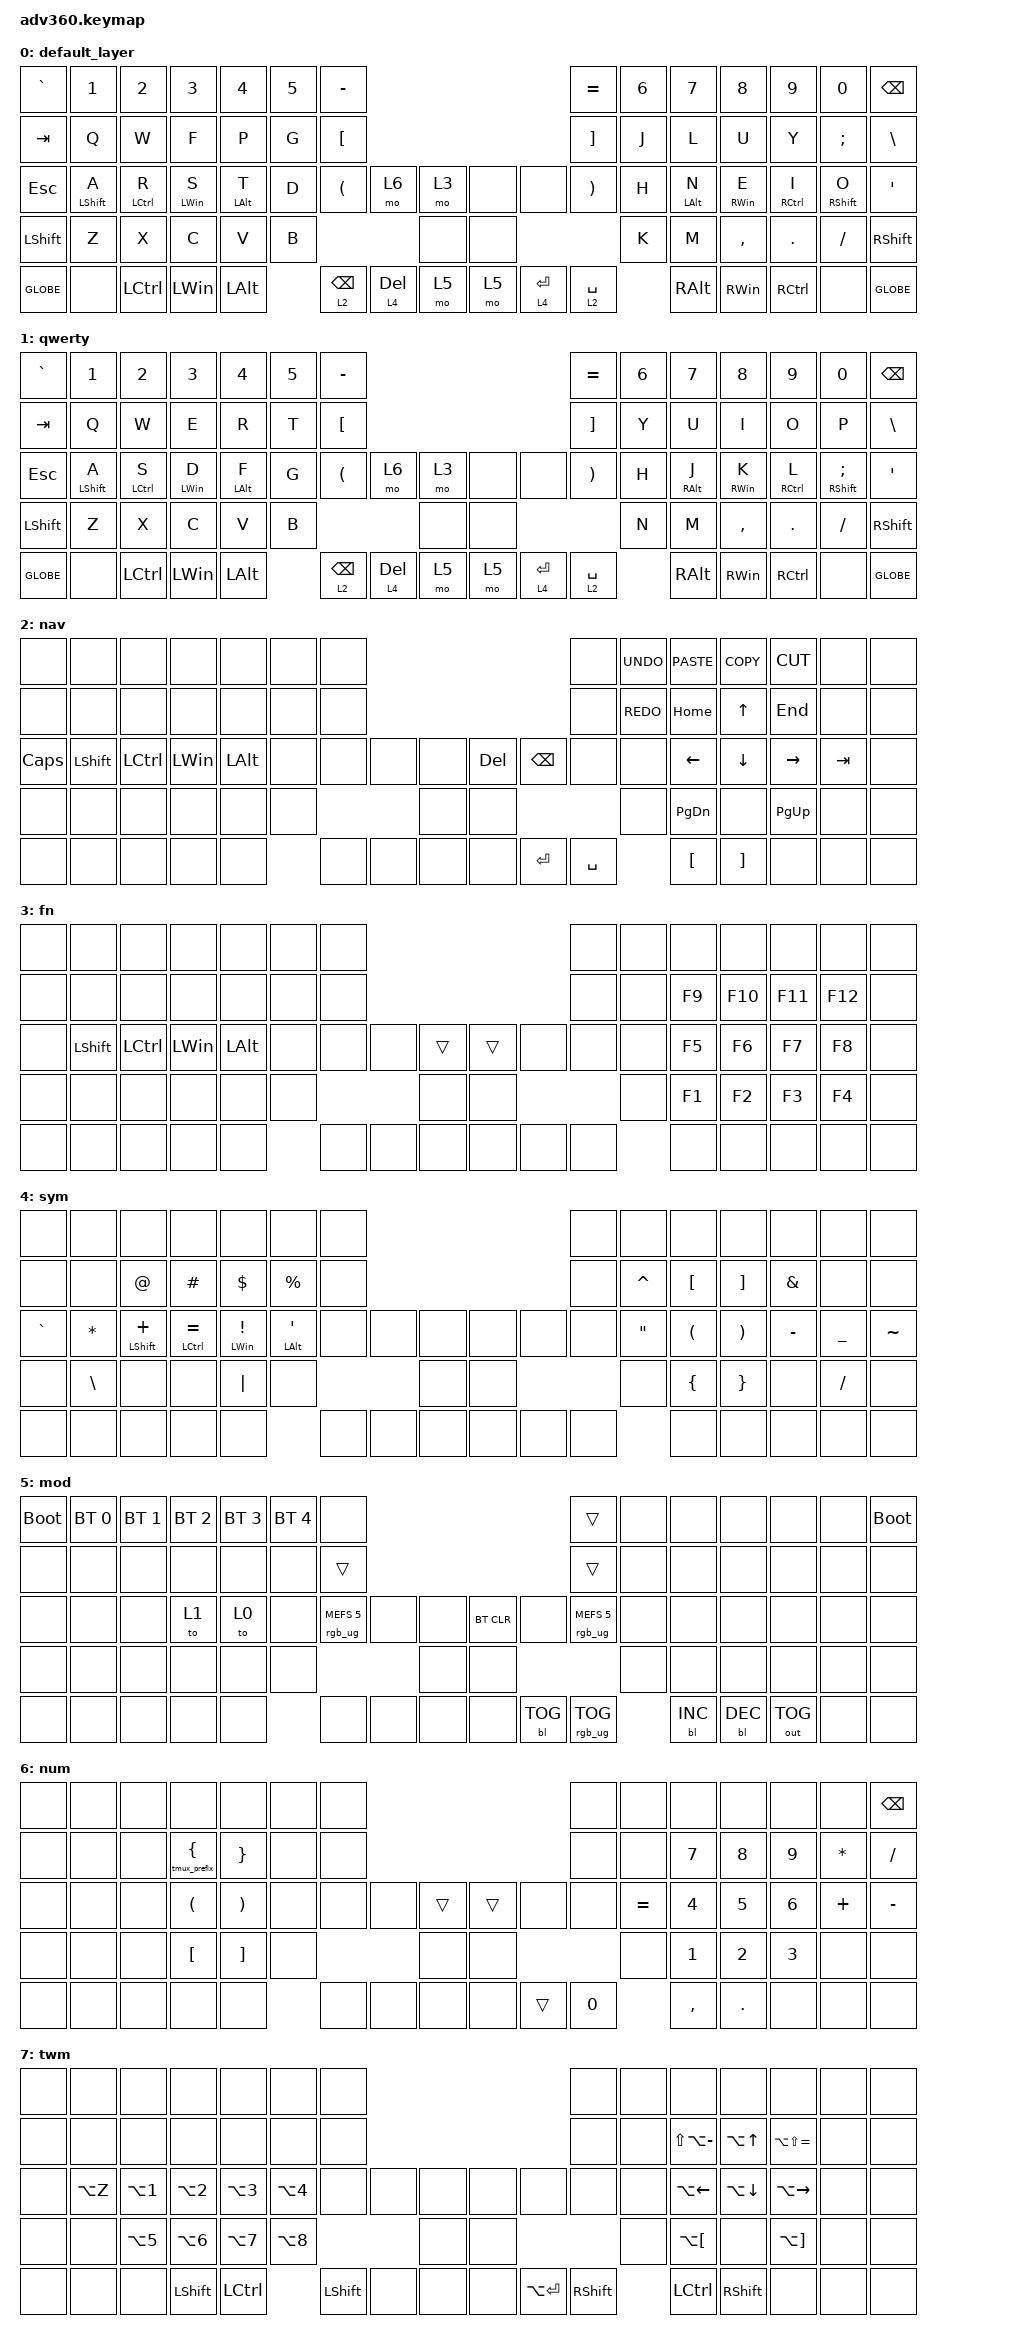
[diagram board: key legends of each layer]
#include <behaviors.dtsi>
#include <dt-bindings/zmk/backlight.h>
#include <dt-bindings/zmk/bt.h>
#include <dt-bindings/zmk/keys.h>
#include <dt-bindings/zmk/outputs.h>
#include <dt-bindings/zmk/rgb.h>

#define KEYPAD 1
#define FN 2
#define MOD 3

&lt {
    tapping-term-ms = <250>;
    quick-tap-ms = <200>;
    flavor = "balanced";
    require-prior-idle-ms = <200>;
};

/ {
    behaviors {
        #include "macros.dtsi"
      #include "version.dtsi"
      #ifndef VERSION_MACRO


        #endif

        hml: homerow_mods_left {
            compatible = "zmk,behavior-hold-tap";
            label = "HOMEROW_MODS_LEFT";
            bindings = <&kp>, <&kp>;

            #binding-cells = <2>;
            tapping-term-ms = <250>;
            quick-tap-ms = <175>;
            require-prior-idle-ms = <200>;
            flavor = "balanced";
            hold-trigger-key-positions = <44 41 42 43 44 69 70 71 72 73 74 55 56 57 58 71 72 73 74 7 8 9 10 11 12 13 21 22 23 24 25 26 27 39 40 41 42 43 44 45 54 55 56 57 58 59 71 72 73 74 75>;
            hold-trigger-on-release;
        };

        hmr: homerow_mods_right {
            compatible = "zmk,behavior-hold-tap";
            label = "HOMEROW_MODS_RIGHT";
            bindings = <&kp>, <&kp>;

            #binding-cells = <2>;
            tapping-term-ms = <250>;
            quick-tap-ms = <175>;
            require-prior-idle-ms = <200>;
            flavor = "balanced";
            hold-trigger-key-positions = <29 30 31 32 0 1 2 3 4 5 6 14 15 16 17 18 19 20 28 29 30 31 32 33 34 46 47 48 49 50 51 60 61 62 63 64 65 66>;
            hold-trigger-on-release;
        };

        flt: flt {
            compatible = "zmk,behavior-hold-tap";
            label = "fast_layer_tap";
            bindings = <&mo>, <&kp>;

            #binding-cells = <2>;
            tapping-term-ms = <150>;
            quick-tap-ms = <200>;
            flavor = "balanced";
            require-prior-idle-ms = <125>;
        };

        caps_word_const: caps_word_const {
            compatible = "zmk,behavior-caps-word";
            label = "CAPS_WORD_CONST";
            #binding-cells = <0>;
            continue-list = <A B C D E F G H I J K L M N O P Q R S T U V W X Y Z UNDERSCORE LEFT_PARENTHESIS RIGHT_PARENTHESIS LEFT_BRACKET RIGHT_BRACKET LEFT_BRACE RIGHT_BRACE BACKSPACE MINUS>;
        };
    };

    combos {
        compatible = "zmk,combos";

        caps_lock {
            bindings = <&caps_word_const>;
            key-positions = <46 59>;
            layers = <0>;
            timeout-ms = <200>;
        };

        toggle_nav_alt_super_left {
            bindings = <&nav_alt_super 2 LA(LEFT_WIN)>;
            key-positions = <49 50>;
            layers = <0>;
        };

        lpar {
            bindings = <&kp LEFT_PARENTHESIS>;
            key-positions = <42 41>;
            layers = <0>;
        };

        rpar {
            bindings = <&kp RIGHT_PARENTHESIS>;
            key-positions = <42 43>;
            layers = <0>;
        };

        lbkt {
            bindings = <&kp LEFT_BRACKET>;
            key-positions = <41 40>;
            layers = <0>;
        };

        rbkt {
            bindings = <&kp RBKT>;
            key-positions = <43 44>;
            layers = <0>;
        };

        toggle_nav_alt_super_right {
            bindings = <&nav_alt_super 2 LA(LEFT_WIN)>;
            key-positions = <55 56>;
            layers = <0>;
        };
    };

    macros {
        tmux_prefix: tmux_prefix {
            compatible = "zmk,behavior-macro-one-param";
            #binding-cells = <1>;
            bindings =
                <&macro_tap>,
                <&kp LC(A) &macro_param_1to1 &kp MACRO_PLACEHOLDER>;

            label = "TMUX_PREFIX";
        };

        nav_alt_super: nav_alt_super {
            compatible = "zmk,behavior-macro-two-param";
            #binding-cells = <2>;
            bindings =
                <&macro_param_1to1>,
                <&macro_press>,
                <&mo MACRO_PLACEHOLDER &macro_param_2to1>,
                <&macro_press>,
                <&kp MACRO_PLACEHOLDER>,
                <&macro_pause_for_release>,
                <&macro_param_2to1>,
                <&macro_release>,
                <&kp MACRO_PLACEHOLDER &macro_param_1to1>,
                <&macro_release>,
                <&mo MACRO_PLACEHOLDER>;

            label = "NAV_ALT_SUPER";
        };
    };

    keymap {
        compatible = "zmk,keymap";

        default_layer {
            bindings = <
&kp GRAVE   &kp N1             &kp N2            &kp N3           &kp N4           &kp N5  &kp MINUS                                                        &kp EQUAL     &kp N6  &kp N7           &kp N8         &kp N9             &kp N0              &kp BSPC
&kp TAB     &kp Q              &kp W             &kp F            &kp P            &kp G   &kp LBKT                                                         &kp RBKT      &kp J   &kp L            &kp U          &kp Y              &kp SEMI            &kp BSLH
&kp ESCAPE  &hml LEFT_SHIFT A  &hml LCTRL R      &hml LEFT_WIN S  &hml LEFT_ALT T  &kp D   &kp LPAR          &mo 6          &mo 3      &none  &none         &kp RPAR      &kp H   &hmr LEFT_ALT N  &hmr RWIN E    &hmr RCTRL I       &hmr RIGHT_SHIFT O  &kp SINGLE_QUOTE
&kp LSHFT   &kp Z              &kp X             &kp C            &kp V            &kp B                                    &none      &none                              &kp K   &kp M            &kp COMMA      &kp DOT            &kp FSLH            &kp RSHFT
&kp GLOBE   &none              &kp LEFT_CONTROL  &kp LEFT_WIN     &kp LEFT_ALT             &flt 2 BACKSPACE  &flt 4 DELETE  &mo 5      &mo 5  &flt 4 ENTER  &flt 2 SPACE          &kp RALT         &kp RIGHT_WIN  &kp RIGHT_CONTROL  &none               &kp GLOBE
            >;
        };

        qwerty {
            bindings = <
&kp GRAVE   &kp N1            &kp N2            &kp N3          &kp N4          &kp N5  &kp MINUS                                                        &kp EQUAL     &kp N6  &kp N7           &kp N8         &kp N9             &kp N0                &kp BSPC
&kp TAB     &kp Q             &kp W             &kp E           &kp R           &kp T   &kp LBKT                                                         &kp RBKT      &kp Y   &kp U            &kp I          &kp O              &kp P                 &kp BSLH
&kp ESCAPE  &mt LEFT_SHIFT A  &mt LCTRL S       &mt LEFT_WIN D  &mt LEFT_ALT F  &kp G   &kp LPAR          &mo 6          &mo 3      &none  &none         &kp RPAR      &kp H   &mt RIGHT_ALT J  &mt RWIN K     &mt RCTRL L        &mt RSHIFT SEMICOLON  &kp SQT
&kp LSHFT   &kp Z             &kp X             &kp C           &kp V           &kp B                                    &none      &none                              &kp N   &kp M            &kp COMMA      &kp DOT            &kp FSLH              &kp RSHFT
&kp GLOBE   &none             &kp LEFT_CONTROL  &kp LEFT_WIN    &kp LEFT_ALT            &flt 2 BACKSPACE  &flt 4 DELETE  &mo 5      &mo 5  &flt 4 ENTER  &flt 2 SPACE          &kp RALT         &kp RIGHT_WIN  &kp RIGHT_CONTROL  &none                 &kp GLOBE
            >;
        };

        nav {
            bindings = <
&none         &none       &none      &none         &none     &none  &none                                               &none      &kp K_UNDO  &kp K_PASTE     &kp K_COPY    &kp K_CUT  &none    &none
&none         &none       &none      &none         &none     &none  &none                                               &none      &kp K_REDO  &kp HOME        &kp UP_ARROW  &kp END    &none    &none
&kp CAPSLOCK  &kp LSHIFT  &kp LCTRL  &kp LEFT_WIN  &kp LALT  &none  &none  &none  &none      &kp DELETE  &kp BACKSPACE  &none      &none       &kp LEFT_ARROW  &kp DOWN      &kp RIGHT  &kp TAB  &none
&none         &none       &none      &none         &none     &none                &none      &none                                 &none       &kp PAGE_DOWN   &none         &kp PG_UP  &none    &none
&none         &none       &none      &none         &none            &none  &none  &none      &none       &kp ENTER      &kp SPACE              &kp LBKT        &kp RBKT      &none      &none    &none
            >;
        };

        fn {
            bindings = <
&none  &none       &none      &none         &none     &none  &none                                    &none  &none  &none   &none    &none    &none    &none
&none  &none       &none      &none         &none     &none  &none                                    &none  &none  &kp F9  &kp F10  &kp F11  &kp F12  &none
&none  &kp LSHIFT  &kp LCTRL  &kp LEFT_WIN  &kp LALT  &none  &none  &none  &trans      &trans  &none  &none  &none  &kp F5  &kp F6   &kp F7   &kp F8   &none
&none  &none       &none      &none         &none     &none                &none       &none                 &none  &kp F1  &kp F2   &kp F3   &kp F4   &none
&none  &none       &none      &none         &none            &none  &none  &none       &none   &none  &none         &none   &none    &none    &none    &none
            >;
        };

        sym {
            bindings = <
&none      &none          &none                &none                   &none                     &none                      &none                                  &none  &none              &none                 &none                  &none          &none           &none
&none      &none          &kp AT_SIGN          &kp HASH                &kp DOLLAR                &kp PERCENT                &none                                  &none  &kp CARET          &kp LEFT_BRACKET      &kp RIGHT_BRACKET      &kp AMPERSAND  &none           &none
&kp GRAVE  &kp STAR       &mt LEFT_SHIFT PLUS  &mt LEFT_CONTROL EQUAL  &mt LEFT_WIN EXCLAMATION  &mt LEFT_ALT SINGLE_QUOTE  &none  &none  &none      &none  &none  &none  &kp DOUBLE_QUOTES  &kp LEFT_PARENTHESIS  &kp RIGHT_PARENTHESIS  &kp MINUS      &kp UNDERSCORE  &kp TILDE
&none      &kp BACKSLASH  &none                &none                   &kp PIPE                  &none                                    &none      &none                &none              &kp LEFT_BRACE        &kp RIGHT_BRACE        &none          &kp SLASH       &none
&none      &none          &none                &none                   &none                                                &none  &none  &none      &none  &none  &none                     &none                 &none                  &none          &none           &none
            >;
        };

        mod {
            bindings = <
&bootloader  &bt BT_SEL 0  &bt BT_SEL 1  &bt BT_SEL 2  &bt BT_SEL 3  &bt BT_SEL 4  &none                                                             &trans                  &none  &none       &none       &none         &none  &bootloader
&none        &none         &none         &none         &none         &none         &trans                                                            &trans                  &none  &none       &none       &none         &none  &none
&none        &none         &none         &to 1         &to 0         &none         &rgb_ug RGB_MEFS_CMD 5  &none  &none      &bt BT_CLR  &none       &rgb_ug RGB_MEFS_CMD 5  &none  &none       &none       &none         &none  &none
&none        &none         &none         &none         &none         &none                                        &none      &none                                           &none  &none       &none       &none         &none  &none
&none        &none         &none         &none         &none                       &none                   &none  &none      &none       &bl BL_TOG  &rgb_ug RGB_TOG                &bl BL_INC  &bl BL_DEC  &out OUT_TOG  &none  &none
            >;
        };

        num {
            bindings = <
&none  &none  &none  &none                    &none              &none  &none                                     &none   &none      &none      &none    &none   &none     &kp BACKSPACE
&none  &none  &none  &tmux_prefix LEFT_BRACE  &kp RIGHT_BRACE    &none  &none                                     &none   &none      &kp N7     &kp N8   &kp N9  &kp STAR  &kp FSLH
&none  &none  &none  &kp LPAR                 &kp RPAR           &none  &none  &none  &trans      &trans  &none   &none   &kp EQUAL  &kp N4     &kp N5   &kp N6  &kp PLUS  &kp MINUS
&none  &none  &none  &kp LEFT_BRACKET         &kp RIGHT_BRACKET  &none                &none       &none                   &none      &kp N1     &kp N2   &kp N3  &none     &none
&none  &none  &none  &none                    &none                     &none  &none  &none       &none   &trans  &kp N0             &kp COMMA  &kp DOT  &none   &none     &none
            >;

            label = "num";
        };

        twm {
            bindings = <
&none  &none      &none             &none             &none             &none             &none                                              &none      &none  &none              &none         &none              &none  &none
&none  &none      &none             &none             &none             &none             &none                                              &none      &none  &kp LS(LA(MINUS))  &kp LA(UP)    &kp LA(LS(EQUAL))  &none  &none
&none  &kp LA(Z)  &kp LA(NUMBER_1)  &kp LA(NUMBER_2)  &kp LA(NUMBER_3)  &kp LA(NUMBER_4)  &none      &none  &none      &none  &none          &none      &none  &kp LA(LEFT)       &kp LA(DOWN)  &kp LA(RIGHT)      &none  &none
&none  &none      &kp LA(N5)        &kp LA(NUMBER_6)  &kp LA(N7)        &kp LA(N8)                          &none      &none                            &none  &kp LA(LBKT)       &none         &kp LA(RBKT)       &none  &none
&none  &none      &none             &kp LSHFT         &kp LCTRL                           &kp LSHFT  &none  &none      &none  &kp LA(ENTER)  &kp RSHFT         &kp LCTRL          &kp RSHIFT    &none              &none  &none
            >;
        };
    };
};
